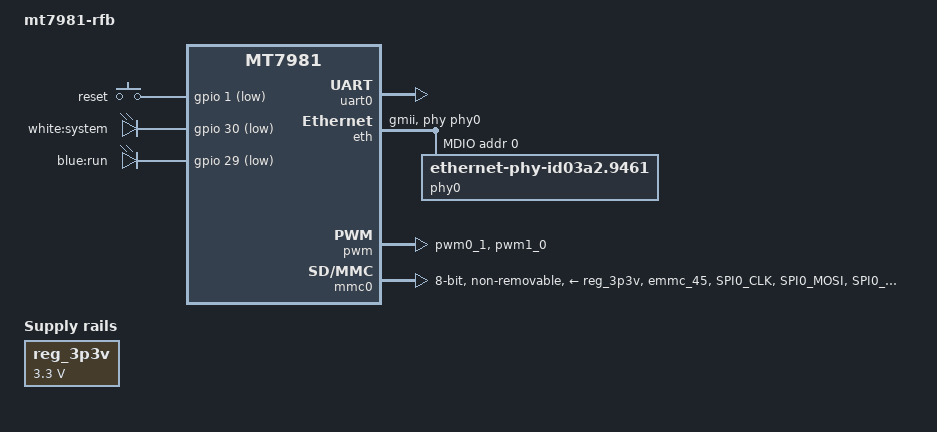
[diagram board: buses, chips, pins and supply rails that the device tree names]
// SPDX-License-Identifier: GPL-2.0
/*
 * Copyright (c) 2021 MediaTek Inc.
 * Author: Sam Shih <sam.shih@mediatek.com>
 */

/dts-v1/;
#include "mt7981.dtsi"
#include <dt-bindings/gpio/gpio.h>

/ {
	#address-cells = <1>;
	#size-cells = <1>;
	model = "mt7981-rfb";
	compatible = "mediatek,mt7981", "mediatek,mt7981-rfb";
	chosen {
		stdout-path = &uart0;
		tick-timer = &timer0;
	};
	
	config {
		bootcmd = "mtkboardboot";

		environment {
			lu = "mtkupgrade fip uboot-gl-mt2500.bin";
			lf = "mtkupgrade fw openwrt-gl-mt2500.bin";
			blink_led = "blue:run";
			system_led = "white:system";
			gpio_usb_power = "12";
		};
	};

        gpio-keys-polled {
                compatible = "gpio-keys";

                power-button {
                        label = "reset";
                        gpios = <&gpio 1 GPIO_ACTIVE_LOW>;
                };
        };

        leds {
                compatible = "gpio-leds";

                led@0 {
                        label = "white:system";
                        gpios = <&gpio 30 GPIO_ACTIVE_LOW>;
                };

                led@1 {
                        label = "blue:run";
                        gpios = <&gpio 29 GPIO_ACTIVE_LOW>;
                };
        };

	reg_3p3v: regulator-3p3v {
                  compatible = "regulator-fixed";
                  regulator-name = "fixed-3.3V";
                  regulator-min-microvolt = <3300000>;
                  regulator-max-microvolt = <3300000>;
                  regulator-boot-on;
                  regulator-always-on;
        };
};

&uart0 {
	status = "okay";
};

&uart1 {
	pinctrl-names = "default";
	pinctrl-0 = <&uart1_pins>;
	status = "disabled";
};

&eth {
        status = "okay";
        mediatek,gmac-id = <1>;
        phy-mode = "gmii";
        phy-handle = <&phy0>;

        mdio {
                phy0: ethernet-phy@0 {
                        compatible = "ethernet-phy-id03a2.9461";
                        reg = <0x0>;
                        phy-mode = "gmii";
                };
        };
};

&pinctrl {
	spic_pins: spi1-pins-func-1 {
		mux {
			function = "spi";
			groups = "spi1_1";
		};
	};

	uart1_pins: spi1-pins-func-3 {
		mux {
			function = "uart";
			groups = "uart1_2";
		};
	};

	/* pin15 as pwm0 */
	one_pwm_pins: one-pwm-pins {
		mux {
			function = "pwm";
			groups = "pwm0_1";
		};
	};

	/* pin15 as pwm0 and pin14 as pwm1 */
	two_pwm_pins: two-pwm-pins {
		mux {
			function = "pwm";
			groups = "pwm0_1", "pwm1_0";
		};
	};

	/* pin15 as pwm0, pin14 as pwm1, pin7 as pwm2 */
	three_pwm_pins: three-pwm-pins {
		mux {
			function = "pwm";
			groups = "pwm0_1", "pwm1_0", "pwm2";
		};
	};

	mmc0_pins_default: mmc0default {
		mux {
			function = "flash";
			groups =  "emmc_45";
		};
		conf-cmd-dat {
			pins = "SPI0_CLK", "SPI0_MOSI", "SPI0_MISO",
				"SPI0_CS",  "SPI0_HOLD", "SPI0_WP",
				"SPI1_CLK", "SPI1_MOSI", "SPI1_MISO";
			input-enable;
			drive-strength = <MTK_DRIVE_4mA>;
			bias-pull-up = <MTK_PUPD_SET_R1R0_01>;
		};
		conf-clk {
			pins = "SPI1_CS";
			drive-strength = <MTK_DRIVE_6mA>;
			bias-pull-down = <MTK_PUPD_SET_R1R0_10>;
		};
		conf-rst {
			pins = "PWM0";
			drive-strength = <MTK_DRIVE_4mA>;
			bias-pull-up = <MTK_PUPD_SET_R1R0_01>;
		};
	};
};

&pwm {
	pinctrl-names = "default";
	pinctrl-0 = <&two_pwm_pins>;
	status = "okay";
};

&watchdog {
	status = "disabled";
};

&mmc0 {
        pinctrl-names = "default";
        pinctrl-0 = <&mmc0_pins_default>;
        bus-width = <8>;
        max-frequency = <52000000>;
        cap-mmc-highspeed;
        cap-mmc-hw-reset;
        vmmc-supply = <&reg_3p3v>;
        non-removable;
        status = "okay";
};
